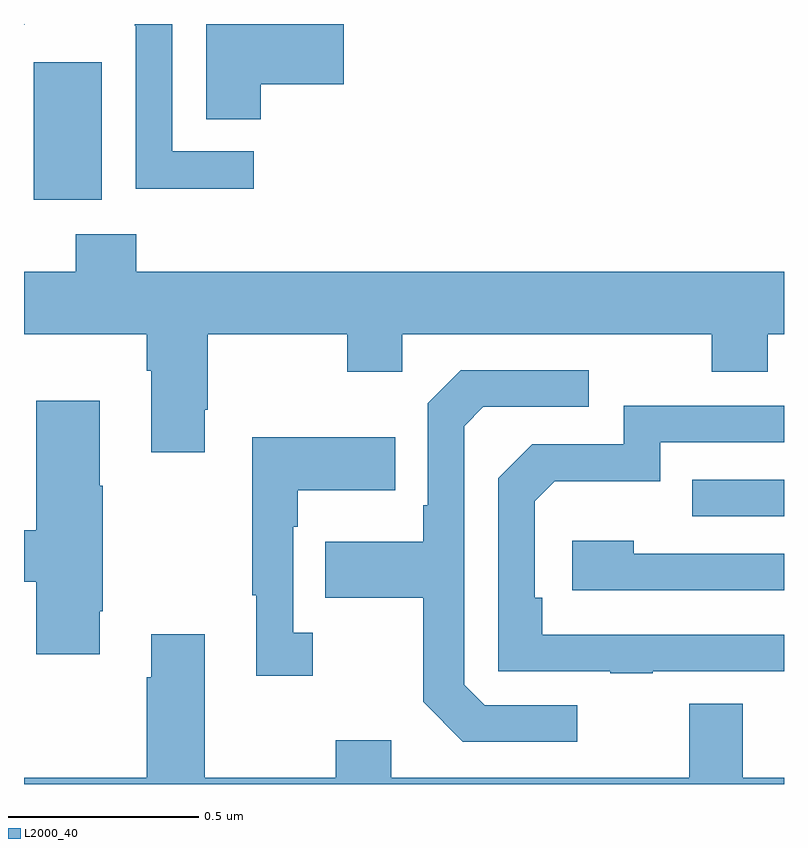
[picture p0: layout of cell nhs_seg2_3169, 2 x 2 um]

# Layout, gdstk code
import gdstk
lib = gdstk.Library(unit=1e-6, precision=1e-09)
def R(c, l, rs):  # rectangles x0, y0, x1, y1
    for r in rs: c.add(gdstk.rectangle(r[:2], r[2:], *l))
def P(c, l, *ps):  # polygons
    for p in ps: c.add(gdstk.Polygon(p, *l))
L2000_40 = (2000, 40)

nhs_seg2_3169 = lib.new_cell('nhs_seg2_3169')
R(nhs_seg2_3169, L2000_40, [(151.759,632.505,152,632.601), (150.026,633.338,150.205,633.699)])
P(nhs_seg2_3169, L2000_40, [(150.623,633.641),(150.841,633.641),(150.841,633.8),(150.479,633.8),(150.479,633.55),(150.623,633.55)],
  [(150.002,633.8),(150,633.8),(150,633.798)],
  [(150.604,633.465),(150.39,633.465),(150.39,633.8),(150.292,633.8),(150.292,633.796),(150.294,633.796),(150.294,633.367),(150.604,633.367)],
  [(150.296,633.247),(150.136,633.247),(150.136,633.148),(150,633.148),(150,632.984),(150.323,632.984),(150.323,632.888),(150.335,632.888),(150.335,632.673),(150.475,632.673),(150.475,632.785),(150.483,632.785),(150.483,632.984),(150.85,632.984),(150.85,632.885),(150.996,632.885),(150.996,632.984),(151.81,632.984),(151.81,632.885),(151.957,632.885),(151.957,632.984),(152,632.984),(152,633.148),(150.296,633.148)],
  [(151.456,632.007),(151.212,632.007),(151.158,632.061),(151.158,632.742),(151.209,632.793),(151.486,632.793),(151.486,632.889),(151.149,632.889),(151.062,632.802),(151.062,632.533),(151.05,632.533),(151.05,632.437),(150.793,632.437),(150.793,632.29),(151.05,632.29),(151.05,632.017),(151.155,631.911),(151.456,631.911)],
  [(150.199,632.254),(150.207,632.254),(150.207,632.585),(150.199,632.585),(150.199,632.809),(150.032,632.809),(150.032,632.468),(150,632.468),(150,632.332),(150.032,632.332),(150.032,632.142),(150.199,632.142)],
  [(151.655,632.097),(152,632.097),(152,632.193),(151.364,632.193),(151.364,632.29),(151.344,632.29),(151.344,632.544),(151.397,632.597),(151.674,632.597),(151.674,632.7),(152,632.7),(152,632.796),(151.578,632.796),(151.578,632.694),(151.338,632.694),(151.248,632.604),(151.248,632.097),(151.543,632.097),(151.543,632.092),(151.655,632.092)],
  [(150.76,632.198),(150.708,632.198),(150.708,632.477),(150.721,632.477),(150.721,632.573),(150.977,632.573),(150.977,632.713),(150.6,632.713),(150.6,632.297),(150.611,632.297),(150.611,632.085),(150.76,632.085)],
  [(152,632.406),(151.604,632.406),(151.604,632.44),(151.443,632.44),(151.443,632.31),(152,632.31)],
  [(152,631.816),(151.891,631.816),(151.891,632.011),(151.751,632.011),(151.751,631.816),(150.967,631.816),(150.967,631.915),(150.82,631.915),(150.82,631.816),(150.475,631.816),(150.475,632.194),(150.335,632.194),(150.335,632.081),(150.323,632.081),(150.323,631.816),(150,631.816),(150,631.8),(152,631.8)])

lib.write_gds('nhs_seg2_3169.gds')
